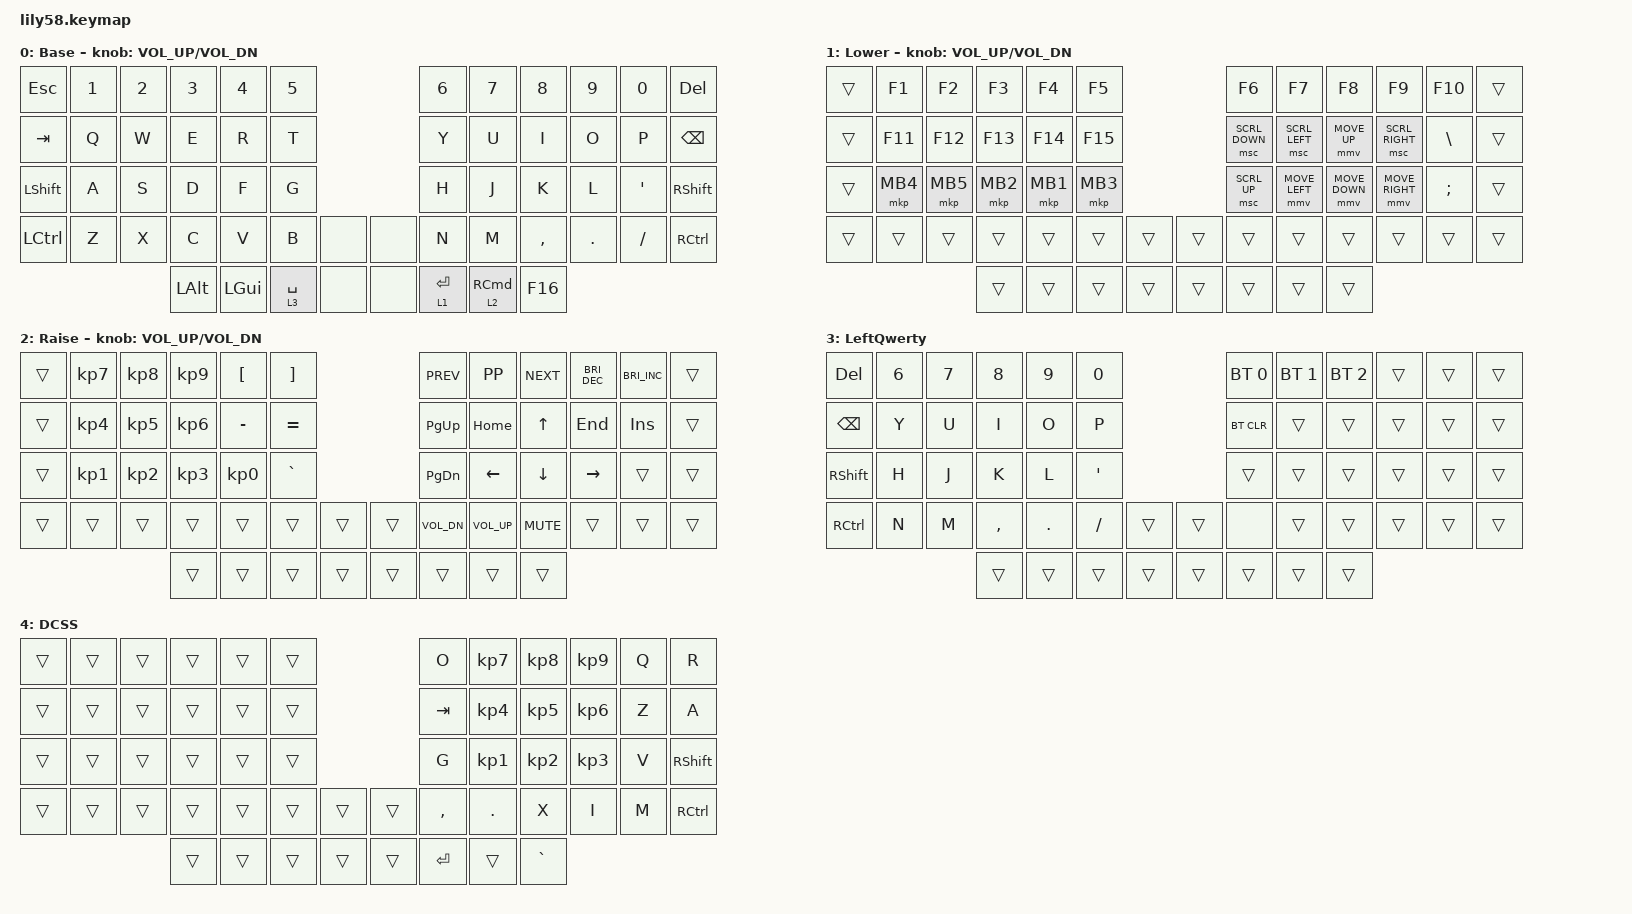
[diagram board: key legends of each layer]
/*
 * Copyright (c) 2020 The ZMK Contributors
 *
 * SPDX-License-Identifier: MIT
 */

#define ZMK_POINTING_DEFAULT_MOVE_VAL 1350
#define ZMK_POINTING_DEFAULT_SCRL_VAL 15

#include <behaviors.dtsi>
#include <dt-bindings/zmk/bt.h>
#include <dt-bindings/zmk/keys.h>
#include <dt-bindings/zmk/pointing.h>

&mmv {
    delay-ms = <0>;
    time-to-max-speed-ms = <400>;
    acceleration-exponent = <2>;
};

&msc {
    delay-ms = <0>;
    time-to-max-speed-ms = <750>;
    acceleration-exponent = <1>;
};

/ {
    combos {
        compatible = "zmk,combos";

        L3 {
            bindings = <&tog 4>;
            key-positions = <57 50>;
        };
    };

    macros {
        new_macro: new_macro {
            compatible = "zmk,behavior-macro";
            #binding-cells = <0>;
            bindings = <&none>;
            label = "NEW_MACRO";
        };
    };

    keymap {
        compatible = "zmk,keymap";

        Default {
            // ------------------------------------------------------------------------------------------------------------
            // |  ESC  |  1  |  2  |  3   |  4   |  5   |                   |  6   |  7    |  8    |  9   |   0   |   `   |
            // |  TAB  |  Q  |  W  |  E   |  R   |  T   |                   |  Y   |  U    |  I    |  O   |   P   |   -   |
            // |  CTRL |  A  |  S  |  D   |  F   |  G   |                   |  H   |  J    |  K    |  L   |   ;   |   '   |
            // | SHIFT |  Z  |  X  |  C   |  V   |  B   |   "["  |  |  "]"  |  N   |  M    |  ,    |  .   |   /   | SHIFT |
            //                     | ALT  | GUI  | LOWER|  SPACE |  | ENTER | RAISE| BSPC  | GUI   |

            display-name = "Base";
            bindings = <
&kp ESC    &kp N1  &kp N2  &kp N3    &kp N4    &kp N5                       &kp N6       &kp N7      &kp N8     &kp N9   &kp N0    &kp DELETE
&kp TAB    &kp Q   &kp W   &kp E     &kp R     &kp T                        &kp Y        &kp U       &kp I      &kp O    &kp P     &kp BSPC
&kp LSHFT  &kp A   &kp S   &kp D     &kp F     &kp G                        &kp H        &kp J       &kp K      &kp L    &kp SQT   &kp RSHFT
&kp LCTRL  &kp Z   &kp X   &kp C     &kp V     &kp B        &none    &none  &kp N        &kp M       &kp COMMA  &kp DOT  &kp FSLH  &kp RCTRL
                           &kp LALT  &kp LGUI  &lt 3 SPACE  &none    &none  &lt 1 ENTER  &lt 2 RCMD  &kp F16
            >;

            sensor-bindings = <&inc_dec_kp C_VOL_UP C_VOL_DN>;
        };

        MouseFunction {
            // ------------------------------------------------------------------------------------------------------------
            // | BTCLR | BT1 | BT2 |  BT3 |  BT4 |  BT5 |                   |      |       |       |      |       |       |
            // |  F1   |  F2 |  F3 |  F4  |  F5  |  F6  |                   |  F7  |  F8   |  F9   |  F10 |  F11  |  F12  |
            // |   `   |  !  |  @  |  #   |  $   |  %   |                   |  ^   |  &    |  *    |  (   |   )   |   ~   |
            // |       |     |     |      |      |      |        |  |       |      |  _    |  +    |  {   |   }   |  "|"  |
            //                     |      |      |      |        |  |       |      |       |       |

            display-name = "Lower";
            bindings = <
&trans  &kp F1    &kp F2    &kp F3    &kp F4    &kp F5                      &kp F6          &kp F7          &kp F8          &kp F9           &kp F10        &trans
&trans  &kp F11   &kp F12   &kp F13   &kp F14   &kp F15                     &msc SCRL_DOWN  &msc SCRL_LEFT  &mmv MOVE_UP    &msc SCRL_RIGHT  &kp BACKSLASH  &trans
&trans  &mkp MB4  &mkp MB5  &mkp MB2  &mkp MB1  &mkp MB3                    &msc SCRL_UP    &mmv MOVE_LEFT  &mmv MOVE_DOWN  &mmv MOVE_RIGHT  &kp SEMI       &trans
&trans  &trans    &trans    &trans    &trans    &trans    &trans    &trans  &trans          &trans          &trans          &trans           &trans         &trans
                            &trans    &trans    &trans    &trans    &trans  &trans          &trans          &trans
            >;

            sensor-bindings = <&inc_dec_kp C_VOL_UP C_VOL_DN>;
        };

        ArrowClusterNP {
            // ------------------------------------------------------------------------------------------------------------
            // |       |     |     |      |      |      |                   |      |       |       |      |       |       |
            // |   `   |  1  |  2  |  3   |  4   |  5   |                   |  6   |   7   |   8   |  9   |   0   |       |
            // |   F1  |  F2 |  F3 |  F4  |  F5  |  F6  |                   |      |   <-  |   v   |  ^   |  ->   |       |
            // |   F7  |  F8 |  F9 |  F10 |  F11 |  F12 |        |  |       |  +   |   -   |   =   |  [   |   ]   |   \   |
            //                     |      |      |      |        |  |       |      |       |       |

            display-name = "Raise";
            bindings = <
&trans  &kp KP_NUMBER_7  &kp KP_NUMBER_8  &kp KP_NUMBER_9  &kp LEFT_BRACKET  &kp RIGHT_BRACKET                    &kp K_PREV     &kp K_PP      &kp K_NEXT    &kp C_BRIGHTNESS_DEC  &kp C_BRIGHTNESS_INC  &trans
&trans  &kp KP_NUMBER_4  &kp KP_NUMBER_5  &kp KP_NUMBER_6  &kp MINUS         &kp EQUAL                            &kp PAGE_UP    &kp HOME      &kp UP_ARROW  &kp END               &kp INS               &trans
&trans  &kp KP_NUMBER_1  &kp KP_NUMBER_2  &kp KP_NUMBER_3  &kp KP_NUMBER_0   &kp GRAVE                            &kp PAGE_DOWN  &kp LEFT      &kp DOWN      &kp RIGHT_ARROW       &trans                &trans
&trans  &trans           &trans           &trans           &trans            &trans             &trans    &trans  &kp K_VOL_DN   &kp K_VOL_UP  &kp K_MUTE    &trans                &trans                &trans
                                          &trans           &trans            &trans             &trans    &trans  &trans         &trans        &trans
            >;

            sensor-bindings = <&inc_dec_kp C_VOL_UP C_VOL_DN>;
        };

        LeftQwerty {
            bindings = <
&kp DEL    &kp N6  &kp N7  &kp N8     &kp N9   &kp N0                      &bt BT_SEL 0  &bt BT_SEL 1  &bt BT_SEL 2  &trans  &trans  &trans
&kp BSPC   &kp Y   &kp U   &kp I      &kp O    &kp P                       &bt BT_CLR    &trans        &trans        &trans  &trans  &trans
&kp RSHFT  &kp H   &kp J   &kp K      &kp L    &kp SQT                     &trans        &trans        &trans        &trans  &trans  &trans
&kp RCTRL  &kp N   &kp M   &kp COMMA  &kp DOT  &kp FSLH  &trans    &trans  &none         &trans        &trans        &trans  &trans  &trans
                           &trans     &trans   &trans    &trans    &trans  &trans        &trans        &trans
            >;
        };

        DCSS {
            bindings = <
&trans  &trans  &trans  &trans  &trans  &trans                    &kp O      &kp KP_NUMBER_7  &kp KP_NUMBER_8  &kp KP_NUMBER_9  &kp Q  &kp R
&trans  &trans  &trans  &trans  &trans  &trans                    &kp TAB    &kp KP_NUMBER_4  &kp KP_NUMBER_5  &kp KP_NUMBER_6  &kp Z  &kp A
&trans  &trans  &trans  &trans  &trans  &trans                    &kp G      &kp KP_NUMBER_1  &kp KP_NUMBER_2  &kp KP_NUMBER_3  &kp V  &kp RSHFT
&trans  &trans  &trans  &trans  &trans  &trans  &trans    &trans  &kp COMMA  &kp DOT          &kp X            &kp I            &kp M  &kp RCTRL
                        &trans  &trans  &trans  &trans    &trans  &kp ENTER  &trans           &kp GRAVE
            >;
        };
    };
};
